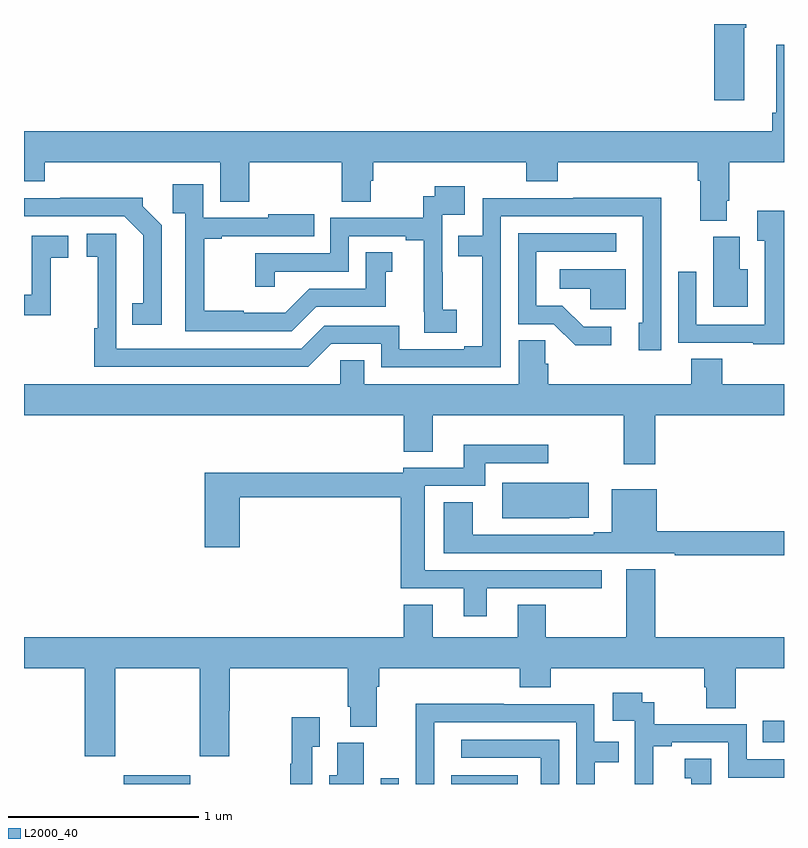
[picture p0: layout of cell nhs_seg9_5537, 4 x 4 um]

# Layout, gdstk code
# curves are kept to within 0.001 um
import gdstk
lib = gdstk.Library(unit=1e-6, precision=1e-09)
def R(c, l, rs):  # rectangles x0, y0, x1, y1
    for r in rs: c.add(gdstk.rectangle(r[:2], r[2:], *l))
def P(c, l, *ps):  # polygons
    for p in ps: c.add(gdstk.Polygon(p, *l))
L2000_40 = (2000, 40)

nhs_seg9_5537 = lib.new_cell('nhs_seg9_5537')
R(nhs_seg9_5537, L2000_40, [(433.526,1174.5,433.876,1174.546), (434.877,1174.5,434.973,1174.531), (435.248,1174.5,435.598,1174.546), (436.888,1174.719,437,1174.834)])
P(nhs_seg9_5537, L2000_40, [(436.792,1178.479),(436.8,1178.479),(436.8,1178.5),(436.634,1178.5),(436.634,1178.1),(436.792,1178.1)],
  [(436.699,1177.57),(436.712,1177.57),(436.712,1177.772),(437,1177.772),(437,1178.392),(436.958,1178.392),(436.958,1178.032),(436.939,1178.032),(436.939,1177.936),(433,1177.936),(433,1177.673),(433.109,1177.673),(433.109,1177.772),(434.033,1177.772),(434.033,1177.564),(434.186,1177.564),(434.186,1177.772),(434.672,1177.772),(434.672,1177.564),(434.824,1177.564),(434.824,1177.674),(434.837,1177.674),(434.837,1177.772),(435.644,1177.772),(435.644,1177.673),(435.809,1177.673),(435.809,1177.772),(436.547,1177.772),(436.547,1177.676),(436.559,1177.676),(436.559,1177.465),(436.699,1177.465)],
  [(434.538,1177.011),(434.905,1177.011),(434.905,1177.195),(434.938,1177.195),(434.938,1177.298),(434.798,1177.298),(434.798,1177.107),(434.502,1177.107),(434.374,1176.979),(434.156,1176.979),(434.156,1176.991),(433.949,1176.991),(433.949,1177.371),(434.041,1177.371),(434.041,1177.383),(434.528,1177.383),(434.528,1177.498),(434.285,1177.498),(434.285,1177.479),(433.944,1177.479),(433.944,1177.657),(433.783,1177.657),(433.783,1177.505),(433.848,1177.505),(433.848,1176.882),(434.409,1176.882)],
  [(435.277,1176.996),(435.203,1176.996),(435.203,1177.193),(435.201,1177.193),(435.201,1177.497),(435.319,1177.497),(435.319,1177.645),(435.163,1177.645),(435.163,1177.593),(435.1,1177.593),(435.1,1177.479),(434.613,1177.479),(434.613,1177.293),(434.218,1177.293),(434.218,1177.116),(434.319,1177.116),(434.319,1177.197),(434.709,1177.197),(434.709,1177.383),(435.008,1177.383),(435.008,1177.363),(435.104,1177.363),(435.104,1176.985),(435.106,1176.985),(435.106,1176.874),(435.277,1176.874)],
  [(435.51,1177.488),(436.257,1177.488),(436.257,1176.927),(436.235,1176.927),(436.235,1176.783),(436.353,1176.783),(436.353,1177.282),(436.355,1177.282),(436.355,1177.586),(435.892,1177.586),(435.892,1177.584),(435.414,1177.584),(435.414,1177.386),(435.286,1177.386),(435.286,1177.278),(435.413,1177.278),(435.413,1176.804),(435.317,1176.804),(435.317,1176.789),(434.976,1176.789),(434.976,1176.912),(434.58,1176.912),(434.46,1176.792),(433.485,1176.792),(433.486,1177.396),(433.329,1177.396),(433.329,1177.275),(433.387,1177.275),(433.387,1176.899),(433.369,1176.899),(433.369,1176.696),(434.496,1176.696),(434.616,1176.816),(434.88,1176.816),(434.88,1176.693),(435.51,1176.693)],
  [(433.725,1177.442),(433.626,1177.541),(433.626,1177.586),(433.192,1177.586),(433.192,1177.584),(433,1177.584),(433,1177.488),(433.527,1177.488),(433.628,1177.387),(433.628,1177.031),(433.57,1177.031),(433.57,1176.918),(433.725,1176.918)],
  [(437,1177.516),(436.859,1177.516),(436.859,1177.36),(436.899,1177.36),(436.899,1176.918),(436.539,1176.918),(436.539,1177.195),(436.443,1177.195),(436.443,1176.822),(436.839,1176.822),(436.839,1176.815),(437,1176.815)],
  [(436.09,1176.906),(435.945,1176.906),(435.834,1177.017),(435.696,1177.017),(435.696,1177.302),(436.117,1177.302),(436.117,1177.398),(435.6,1177.398),(435.6,1176.921),(435.789,1176.921),(435.902,1176.809),(436.09,1176.809)],
  [(433.14,1177.27),(433.234,1177.27),(433.234,1177.386),(433.041,1177.386),(433.041,1177.074),(433,1177.074),(433,1176.966),(433.14,1176.966)],
  [(436.81,1177.21),(436.768,1177.21),(436.768,1177.38),(436.628,1177.38),(436.628,1177.013),(436.81,1177.013)],
  [(436.168,1177.21),(435.819,1177.21),(435.819,1177.106),(435.981,1177.106),(435.981,1176.999),(436.168,1176.999)],
  [(436.322,1176.44),(437,1176.44),(437,1176.604),(436.676,1176.604),(436.676,1176.737),(436.511,1176.737),(436.511,1176.604),(435.758,1176.604),(435.758,1176.713),(435.744,1176.713),(435.744,1176.836),(435.605,1176.836),(435.605,1176.604),(434.791,1176.604),(434.791,1176.731),(434.664,1176.731),(434.664,1176.604),(433,1176.604),(433,1176.44),(434.999,1176.44),(434.999,1176.25),(435.151,1176.25),(435.151,1176.44),(436.157,1176.44),(436.157,1176.183),(436.322,1176.183)],
  [(435.436,1175.529),(436.042,1175.529),(436.042,1175.625),(435.109,1175.625),(435.109,1176.069),(435.427,1176.069),(435.427,1176.189),(435.76,1176.189),(435.76,1176.286),(435.314,1176.286),(435.314,1176.165),(434.996,1176.165),(434.996,1176.139),(433.952,1176.139),(433.952,1175.745),(434.135,1175.745),(434.135,1176.01),(434.984,1176.01),(434.984,1175.529),(435.314,1175.529),(435.314,1175.382),(435.436,1175.382)],
  [(435.869,1175.901),(435.972,1175.901),(435.972,1176.085),(435.518,1176.085),(435.518,1175.9),(435.869,1175.9)],
  [(437,1175.831),(436.33,1175.831),(436.33,1176.052),(436.094,1176.052),(436.094,1175.825),(435.998,1175.825),(435.998,1175.811),(435.361,1175.811),(435.361,1175.983),(435.209,1175.983),(435.209,1175.715),(436.426,1175.715),(436.426,1175.703),(437,1175.703)],
  [(433.479,1175.108),(433.924,1175.108),(433.924,1174.647),(434.079,1174.647),(434.079,1174.886),(434.084,1174.886),(434.084,1175.108),(434.705,1175.108),(434.705,1174.906),(434.717,1174.906),(434.717,1174.801),(434.857,1174.801),(434.857,1175.012),(434.87,1175.012),(434.87,1175.108),(435.608,1175.108),(435.608,1175.009),(435.773,1175.009),(435.773,1175.108),(436.58,1175.108),(436.58,1175.01),(436.592,1175.01),(436.592,1174.9),(436.745,1174.9),(436.745,1175.108),(437,1175.108),(437,1175.272),(436.322,1175.272),(436.322,1175.63),(436.169,1175.63),(436.169,1175.272),(435.747,1175.272),(435.747,1175.444),(435.599,1175.444),(435.599,1175.272),(435.151,1175.272),(435.151,1175.444),(434.999,1175.444),(434.999,1175.272),(433,1175.272),(433,1175.108),(433.319,1175.108),(433.319,1174.647),(433.479,1174.647)],
  [(436.312,1174.699),(436.408,1174.699),(436.408,1174.719),(436.707,1174.719),(436.707,1174.533),(437,1174.533),(437,1174.629),(436.803,1174.629),(436.803,1174.815),(436.316,1174.815),(436.316,1174.929),(436.254,1174.929),(436.254,1174.981),(436.098,1174.981),(436.098,1174.833),(436.215,1174.833),(436.215,1174.529),(436.214,1174.529),(436.214,1174.5),(436.312,1174.5)],
  [(435.159,1174.824),(435.906,1174.824),(435.906,1174.5),(436.003,1174.5),(436.003,1174.614),(436.13,1174.614),(436.13,1174.722),(436.002,1174.722),(436.002,1174.92),(435.524,1174.92),(435.524,1174.922),(435.062,1174.922),(435.062,1174.618),(435.063,1174.618),(435.063,1174.5),(435.159,1174.5)],
  [(434.517,1174.696),(434.557,1174.696),(434.557,1174.852),(434.409,1174.852),(434.409,1174.607),(434.401,1174.607),(434.401,1174.5),(434.517,1174.5)],
  [(435.816,1174.734),(435.3,1174.734),(435.3,1174.638),(435.72,1174.638),(435.72,1174.5),(435.816,1174.5)],
  [(434.788,1174.716),(434.648,1174.716),(434.648,1174.546),(434.606,1174.546),(434.606,1174.5),(434.788,1174.5)],
  [(436.618,1174.634),(436.478,1174.634),(436.478,1174.531),(436.511,1174.531),(436.511,1174.5),(436.618,1174.5)])

lib.write_gds('nhs_seg9_5537.gds')
